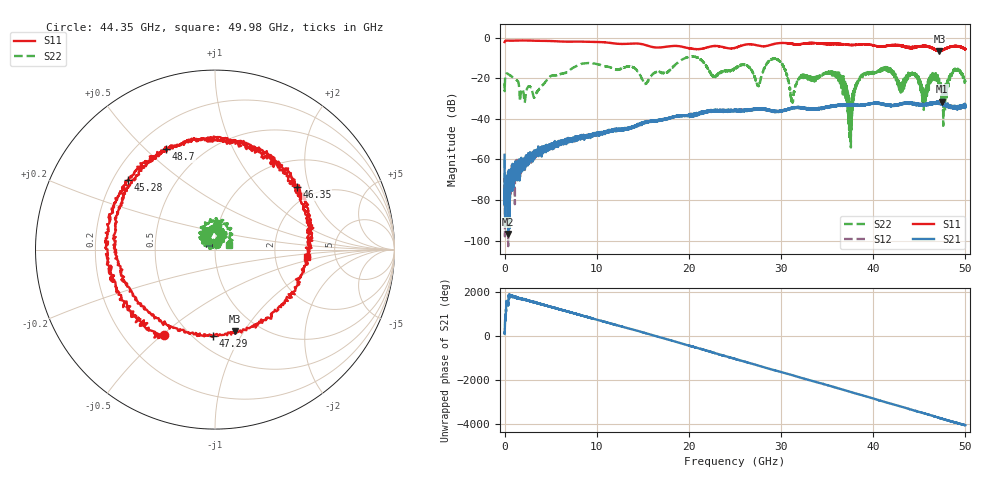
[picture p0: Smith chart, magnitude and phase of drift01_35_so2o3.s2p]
!Created with skrf (http://scikit-rf.org).
# Hz S RI R 50.0
!freq ReS11 ImS11 ReS21 ImS21 ReS12 ImS12 ReS22 ImS22
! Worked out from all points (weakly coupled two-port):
!   10001 points, 300 kHz to 50 GHz, reference 50 ohm
!   highest |S21| = -31.44 dB at 47.44 GHz (marker M1); lowest = -96.7 dB at 390.3 MHz (marker M2)
!   lowest |S11| = -6.6 dB at 47.19 GHz (marker M3), VSWR 2.75, Z = 39.4 - j45.7 ohm
!   |S11| at or under -10 dB: nowhere
!   |S22| runs from -54.1 to -9.2 dB; largest |S21 - S12| = 0.0039
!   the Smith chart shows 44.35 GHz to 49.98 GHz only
!   S11 on the Smith chart (normalised r, x): 44.35 GHz: 0.37, -0.51; 45.28 GHz: 0.26, +0.33; 46.35 GHz: 1.60, +1.67; 47.29 GHz: 0.61, -0.77; 48.7 GHz: 0.32, +0.58; 49.98 GHz: 3.06, -0.36
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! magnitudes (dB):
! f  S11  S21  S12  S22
! 300 kHz  -2.2  -57.7  -60.1  -22.6
! 390.3 MHz  -1.4  -96.7  -102.7  -18.0
! 3.29 GHz  -1.5  -56.4  -56.7  -28.8
! 8.335 GHz  -1.9  -49.0  -49.1  -12.9
! 16.67 GHz  -4.9  -40.4  -40.6  -16.7
! 25 GHz  -5.0  -35.9  -35.9  -15.5
! 29.58 GHz  -2.8  -36.4  -36.5  -10.6
! 31.23 GHz  -3.1  -34.6  -34.4  -31.3
! 33.34 GHz  -2.6  -35.1  -34.8  -20.3
! 36.08 GHz  -3.0  -33.4  -33.3  -18.3
! 37.47 GHz  -3.6  -33.0  -33.2  -38.5
! 38.64 GHz  -3.4  -33.2  -33.2  -19.9
! 41.67 GHz  -3.9  -33.2  -33.4  -15.8
! 44.35 GHz  -5.1  -32.8  -32.5  -17.3
! 45.28 GHz  -4.1  -33.1  -32.6  -24.9
! 46.35 GHz  -4.8  -32.2  -32.3  -19.9
! 47.19 GHz  -6.6  -32.1  -32.3  -22.5
! 47.29 GHz  -6.3  -32.4  -32.4  -22.4
! 47.44 GHz  -6.3  -31.4  -32.4  -28.7
! 48.7 GHz  -4.1  -34.1  -34.3  -16.4
! 49.98 GHz  -5.8  -33.8  -33.4  -21.6
! 50 GHz  -5.6  -33.0  -34.1  -21.7
